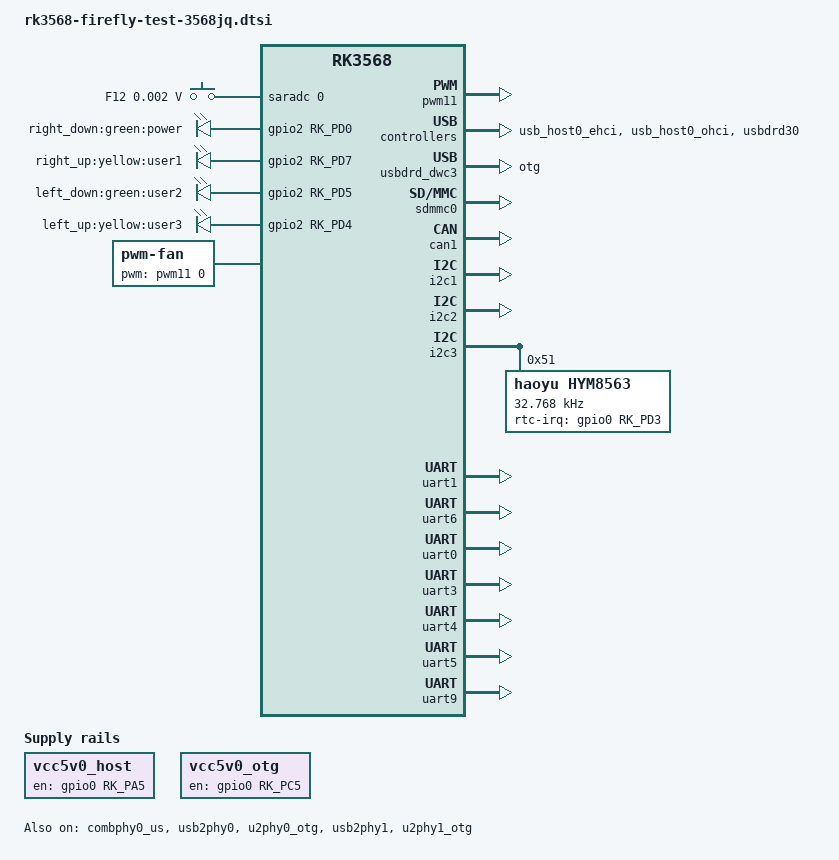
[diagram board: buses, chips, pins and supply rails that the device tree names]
// SPDX-License-Identifier: (GPL-2.0+ OR MIT)
/*
 * Copyright (c) 2020 Rockchip Electronics Co., Ltd.
 *
 */

#include "rk3568-firefly-core.dtsi"
#include "rk3568-linux.dtsi"

/ {
	vcc5v0_host: vcc5v0-host-regulator {
		compatible = "regulator-fixed";
		enable-active-high;
		gpio = <&gpio0 RK_PA5 GPIO_ACTIVE_HIGH>;
		pinctrl-names = "default";
		pinctrl-0 = <&vcc5v0_host_en>;
		regulator-name = "vcc5v0_host";
		regulator-always-on;
		regulator-boot-on;
	};

	vcc5v0_otg: vcc5v0-otg-regulator {
		compatible = "regulator-fixed";
		enable-active-high;
		gpio = <&gpio0 RK_PC5 GPIO_ACTIVE_HIGH>;
		pinctrl-names = "default";
		pinctrl-0 = <&vcc5v0_otg_en>;
		regulator-name = "vcc5v0_otg";
	};

	adc_keys: adc-keys {
		compatible = "adc-keys";
		io-channels = <&saradc 0>;
		io-channel-names = "buttons";
		keyup-threshold-microvolt = <1800000>;
		poll-interval = <100>;

		recovery-key {
			label = "F12";
			linux,code = <KEY_F12>;
			press-threshold-microvolt = <1750>;
		};
	};

	firefly_leds: leds {
		status = "okay";
		compatible = "gpio-leds";

		power_led: power {
			label = "right_down:green:power";
			linux,default-trigger = "ir-power-click";
			default-state = "on";
			gpios = <&gpio2 RK_PD0 GPIO_ACTIVE_HIGH>;
			pinctrl-names = "default";
			pinctrl-0 = <&led_power>;
		};

		user_led1: user1 {
			label = "right_up:yellow:user1";
			linux,default-trigger = "ir-user-click";
			default-state = "off";
			gpios = <&gpio2 RK_PD7 GPIO_ACTIVE_HIGH>;
			pinctrl-names = "default";
			pinctrl-0 = <&led_user1>;
		};

		user_led2: user2 {
			label = "left_down:green:user2";
			linux,default-trigger = "ir-user-click";
			default-state = "off";
			gpios = <&gpio2 RK_PD5 GPIO_ACTIVE_HIGH>;
			pinctrl-names = "default";
			pinctrl-0 = <&led_user2>;
		};

		user_led3: user3 {
			label = "left_up:yellow:user3";
			linux,default-trigger = "ir-user-click";
			default-state = "off";
			gpios = <&gpio2 RK_PD4 GPIO_ACTIVE_HIGH>;
			pinctrl-names = "default";
			pinctrl-0 = <&led_user3>;
		};
	};

	fan: pwm-fan {
		compatible = "pwm-fan";
		#cooling-cells = <2>;
		pwms = <&pwm11 0 50000 1>;
		cooling-levels = <0 50 100 150 200 255>;
		rockchip,temp-trips = <
			50000 1
			55000 2
			60000 3
			65000 4
			70000 5
		>;
	};

	/delete-node/ rk-headset;
};

&pwm4 {
	status = "disabled";
};

&pwm5 {
	status = "disabled";
};

&pwm11 {
	status = "okay";
	pinctrl-names = "active";
	pinctrl-0 = <&pwm11m1_pins>;
};

&combphy0_us {
	status = "okay";
};

&usb2phy0 {
	status = "okay";
};

&u2phy0_host {
	status = "disabled";
};

&u2phy0_otg {
	vbus-supply = <&vcc5v0_otg>;
	status = "okay";
};

&usb2phy1 {
	status = "okay";
};

&u2phy1_host {
	status = "disabled";
};

&u2phy1_otg {
	phy-supply = <&vcc5v0_host>;
	status = "okay";
};

&usb_host0_ehci {
	status = "okay";
};

&usb_host0_ohci {
	status = "okay";
};

&usb_host1_ehci {
	status = "disabled";
};

&usb_host1_ohci {
	status = "disabled";
};

&usbdrd30 {
	status = "okay";
};

&usbdrd_dwc3 {
	dr_mode = "otg";
	extcon = <&usb2phy0>;
	status = "okay";
};

&usbhost30 {
	status = "disabled";
};

&usbhost_dwc3 {
	status = "disabled";
};

&sdmmc0 {
	status = "okay";
};

&can1 {
	status = "okay";
	compatible = "rockchip,rk3568-can-2.0";
	assigned-clocks = <&cru CLK_CAN1>;
	assigned-clock-rates = <200000000>;
	pinctrl-names = "default";
	pinctrl-0 = <&can1m1_pins>;
};

&i2c1 {
	status = "okay";
};

&i2c2 {
	status = "okay";
};

&i2c3 {
	status = "okay";
	pinctrl-names = "default";
	pinctrl-0 = <&i2c3m1_xfer>;

	hym8563: hym8563@51 {
		status = "okay";
		compatible = "haoyu,hym8563";
		reg = <0x51>;
		#clock-cells = <0>;
		rtc-irq-gpio = <&gpio0 RK_PD3 IRQ_TYPE_EDGE_FALLING>;
		clock-frequency = <32768>;
	};
};

/* UART */
&uart1 {
	status = "okay";
};

&uart6 {
	status = "okay";
};
/* UART END */

/* RS232 */
&uart0 {
	status = "okay";
};

&uart3 {
	status = "okay";
};
/* RS232 END */

/* RS485 */
&uart4 {
	status = "okay";
	pinctrl-names = "default";
	pinctrl-0 = <&uart4m1_xfer>;
};

&uart5 {
	status = "okay";
	pinctrl-names = "default";
	pinctrl-0 = <&uart5m1_xfer>;
};
/* RS485 END*/

&uart9 {
	status = "okay";
	pinctrl-names = "default";
	pinctrl-0 = <&uart9m1_xfer>;
};

&rk809_sound {
	status = "disabled";
};

&spdif_out {
	status = "disabled";
};

&rk809_codec {
	status = "disabled";
};

&i2s1_8ch {
	status = "disabled";
};

&spdif_8ch {
	status = "disabled";
};

&vad {
	status = "disabled";
};

&pinctrl {
	leds {
		led_power: led-power {
			rockchip,pins = <2 RK_PD0 RK_FUNC_GPIO &pcfg_pull_none>;
		};

		led_user1: led-user1 {
			rockchip,pins = <2 RK_PD7 RK_FUNC_GPIO &pcfg_pull_none>;
		};

		led_user2: led-user2 {
			rockchip,pins = <2 RK_PD5 RK_FUNC_GPIO &pcfg_pull_none>;
		};

		led_user3: led-user3 {
			rockchip,pins = <2 RK_PD4 RK_FUNC_GPIO &pcfg_pull_none>;
		};
	};

	usb {
		vcc5v0_host_en: vcc5v0-host-en {
			rockchip,pins = <0 RK_PA5 RK_FUNC_GPIO &pcfg_pull_none>;
		};

		vcc5v0_otg_en: vcc5v0-otg-en {
			rockchip,pins = <0 RK_PC5 RK_FUNC_GPIO &pcfg_pull_none>;
		};
	};
};
